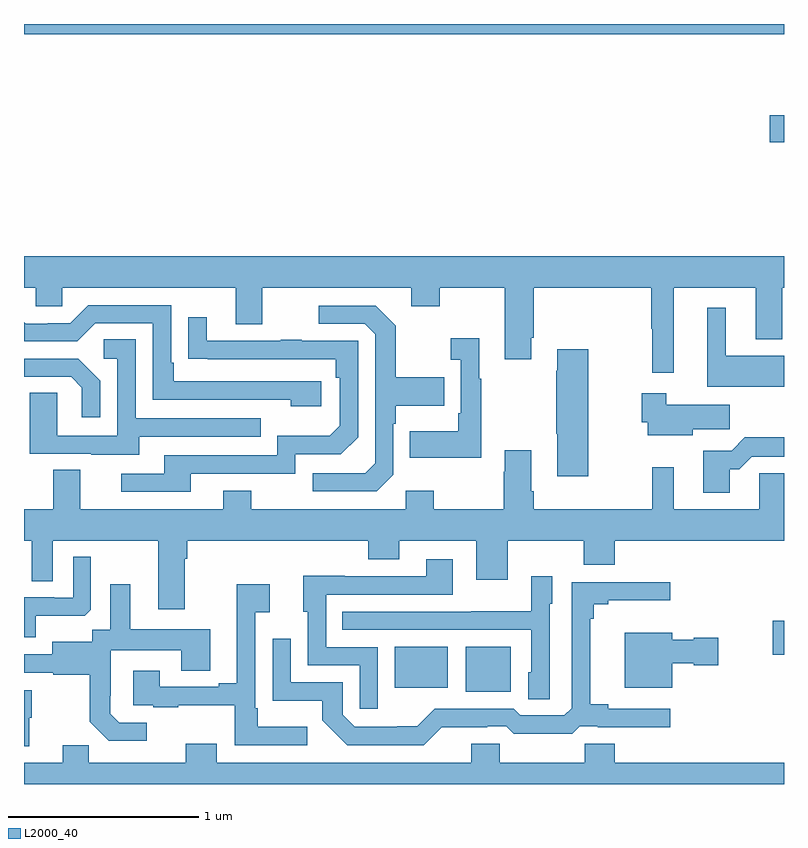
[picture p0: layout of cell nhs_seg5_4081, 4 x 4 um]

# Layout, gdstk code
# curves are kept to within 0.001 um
import gdstk
lib = gdstk.Library(unit=1e-6, precision=1e-09)
def R(c, l, rs):  # rectangles x0, y0, x1, y1
    for r in rs: c.add(gdstk.rectangle(r[:2], r[2:], *l))
def P(c, l, *ps):  # polygons
    for p in ps: c.add(gdstk.Polygon(p, *l))
L2000_40 = (2000, 40)

nhs_seg5_4081 = lib.new_cell('nhs_seg5_4081')
R(nhs_seg5_4081, L2000_40, [(353.324,869.285,353.563,869.521), (352.952,869.306,353.23,869.521), (354.942,869.48,355,869.658), (354.924,872.177,355,872.319), (351,872.744,355,872.799)])
P(nhs_seg5_4081, L2000_40, [(354.421,871.412),(354.851,871.412),(354.851,871.139),(354.991,871.139),(354.991,871.412),(355,871.412),(355,871.576),(351,871.576),(351,871.412),(351.063,871.412),(351.063,871.314),(351.201,871.314),(351.201,871.412),(352.115,871.412),(352.115,871.218),(352.255,871.218),(352.255,871.412),(353.039,871.412),(353.039,871.313),(353.187,871.313),(353.187,871.412),(353.531,871.412),(353.531,871.035),(353.671,871.035),(353.671,871.147),(353.684,871.147),(353.684,871.412),(354.3,871.412),(354.3,871.196),(354.307,871.196),(354.307,870.963),(354.421,870.963)],
  [(352.564,870.918),(351.787,870.918),(351.787,871.015),(351.774,871.015),(351.774,871.32),(351.339,871.32),(351.243,871.224),(351.125,871.224),(351.125,871.221),(351.009,871.221),(351,871.23),(351,871.128),(351.279,871.128),(351.375,871.224),(351.678,871.224),(351.678,870.822),(352.403,870.822),(352.403,870.788),(352.564,870.788)],
  [(352.944,870.426),(352.944,870.695),(352.957,870.695),(352.957,870.791),(353.213,870.791),(353.213,870.939),(352.957,870.939),(352.957,871.211),(352.851,871.317),(352.551,871.317),(352.551,871.221),(352.794,871.221),(352.848,871.167),(352.848,870.486),(352.797,870.435),(352.521,870.435),(352.521,870.339),(352.857,870.339)],
  [(355,871.054),(354.694,871.054),(354.694,871.306),(354.596,871.306),(354.596,870.89),(355,870.89)],
  [(351.877,870.432),(352.428,870.432),(352.428,870.534),(352.668,870.534),(352.758,870.624),(352.758,871.131),(352.463,871.131),(352.463,871.136),(352.351,871.136),(352.351,871.131),(351.961,871.131),(351.961,871.255),(351.865,871.255),(351.865,871.036),(352.642,871.035),(352.642,870.938),(352.662,870.938),(352.662,870.684),(352.609,870.631),(352.332,870.631),(352.332,870.528),(351.737,870.528),(351.737,870.432),(351.513,870.432),(351.513,870.336),(351.877,870.336)],
  [(353.407,870.931),(353.395,870.931),(353.395,871.144),(353.247,871.144),(353.247,871.031),(353.298,871.031),(353.298,870.751),(353.286,870.751),(353.286,870.655),(353.029,870.655),(353.029,870.515),(353.407,870.515)],
  [(351.607,870.627),(352.247,870.627),(352.247,870.723),(351.588,870.723),(351.588,871.139),(351.42,871.139),(351.42,871.038),(351.492,871.038),(351.492,870.633),(351.174,870.633),(351.174,870.857),(351.029,870.857),(351.029,870.537),(351.353,870.537),(351.353,870.533),(351.607,870.533)],
  [(353.97,871.087),(353.807,871.087),(353.807,870.974),(353.8,870.974),(353.8,870.643),(353.807,870.643),(353.807,870.42),(353.97,870.42)],
  [(351.402,870.922),(351.286,871.038),(351,871.038),(351,870.942),(351.248,870.942),(351.305,870.885),(351.305,870.729),(351.402,870.729)],
  [(354.52,870.667),(354.715,870.667),(354.715,870.796),(354.38,870.796),(354.38,870.856),(354.252,870.856),(354.252,870.702),(354.284,870.702),(354.284,870.635),(354.52,870.635)],
  [(354.715,870.455),(354.764,870.455),(354.831,870.522),(355,870.522),(355,870.623),(354.794,870.623),(354.724,870.553),(354.575,870.553),(354.575,870.333),(354.715,870.333)],
  [(351.847,869.984),(351.86,869.984),(351.86,870.08),(352.811,870.08),(352.811,869.981),(352.975,869.981),(352.975,870.08),(353.381,870.08),(353.381,869.874),(353.545,869.874),(353.545,870.08),(353.945,870.08),(353.945,869.952),(354.109,869.952),(354.109,870.08),(355,870.08),(355,870.434),(354.87,870.434),(354.87,870.244),(354.421,870.244),(354.421,870.466),(354.307,870.466),(354.307,870.244),(353.684,870.244),(353.684,870.34),(353.671,870.34),(353.671,870.556),(353.531,870.556),(353.531,870.443),(353.524,870.443),(353.524,870.244),(353.157,870.244),(353.157,870.343),(353.01,870.343),(353.01,870.244),(352.197,870.244),(352.197,870.343),(352.049,870.343),(352.049,870.244),(351.295,870.244),(351.295,870.452),(351.155,870.452),(351.155,870.244),(351,870.244),(351,870.08),(351.042,870.08),(351.042,869.866),(351.15,869.866),(351.15,870.08),(351.707,870.08),(351.707,869.718),(351.847,869.718)],
  [(351.061,869.684),(351.319,869.684),(351.351,869.715),(351.351,869.995),(351.258,869.995),(351.258,869.778),(351.158,869.778),(351.158,869.781),(351,869.781),(351,869.571),(351.061,869.571)],
  [(352.863,869.52),(352.59,869.52),(352.59,869.796),(353.257,869.796),(353.257,869.983),(353.117,869.983),(353.117,869.892),(352.687,869.892),(352.687,869.894),(352.469,869.894),(352.469,869.706),(352.494,869.706),(352.494,869.424),(352.767,869.424),(352.767,869.196),(352.863,869.196)],
  [(353.766,869.748),(353.779,869.748),(353.779,869.893),(353.67,869.893),(353.67,869.707),(353.353,869.707),(353.353,869.706),(352.675,869.706),(352.675,869.61),(353.67,869.61),(353.67,869.388),(353.654,869.388),(353.654,869.245),(353.766,869.245)],
  [(353.198,869.099),(353.438,869.099),(353.438,869.103),(353.538,869.103),(353.578,869.064),(353.885,869.064),(353.925,869.103),(354.019,869.103),(354.019,869.099),(354.4,869.099),(354.4,869.196),(354.076,869.196),(354.076,869.219),(353.981,869.219),(353.981,869.669),(353.999,869.669),(353.999,869.746),(354.076,869.746),(354.076,869.765),(354.4,869.765),(354.4,869.862),(353.883,869.862),(353.883,869.199),(353.844,869.16),(353.613,869.16),(353.577,869.196),(353.163,869.196),(353.069,869.102),(352.964,869.102),(352.964,869.1),(352.74,869.1),(352.677,869.163),(352.677,869.334),(352.404,869.334),(352.404,869.563),(352.308,869.563),(352.308,869.237),(352.57,869.237),(352.57,869.135),(352.7,869.004),(353.103,869.004)],
  [(351.646,869.121),(351.501,869.121),(351.454,869.168),(351.454,869.263),(351.456,869.263),(351.456,869.504),(351.827,869.504),(351.827,869.395),(351.979,869.395),(351.979,869.614),(351.559,869.614),(351.559,869.851),(351.455,869.851),(351.455,869.612),(351.36,869.612),(351.36,869.548),(351.149,869.548),(351.149,869.481),(351,869.481),(351,869.385),(351.153,869.385),(351.153,869.373),(351.345,869.373),(351.345,869.127),(351.445,869.027),(351.646,869.027)],
  [(352.492,869.101),(352.231,869.101),(352.231,869.197),(352.218,869.197),(352.218,869.702),(352.294,869.702),(352.294,869.851),(352.121,869.851),(352.121,869.329),(352.025,869.329),(352.025,869.31),(351.715,869.31),(351.715,869.395),(351.575,869.395),(351.575,869.214),(351.679,869.214),(351.679,869.202),(351.811,869.202),(351.811,869.213),(352.11,869.213),(352.11,869.004),(352.492,869.004)],
  [(354.412,869.435),(354.525,869.435),(354.525,869.423),(354.655,869.423),(354.655,869.57),(354.525,869.57),(354.525,869.557),(354.412,869.557),(354.412,869.596),(354.161,869.596),(354.161,869.306),(354.412,869.306)],
  [(351.028,869.148),(351.04,869.148),(351.04,869.292),(351,869.292),(351,868.997),(351.028,868.997)],
  [(354.11,869.01),(353.95,869.01),(353.95,868.912),(353.505,868.912),(353.505,869.01),(353.354,869.01),(353.354,868.912),(352.015,868.912),(352.015,869.011),(351.851,869.011),(351.851,868.912),(351.341,868.912),(351.341,869.003),(351.203,869.003),(351.203,868.912),(351,868.912),(351,868.799),(355,868.799),(355,868.912),(354.11,868.912)])

lib.write_gds('nhs_seg5_4081.gds')
